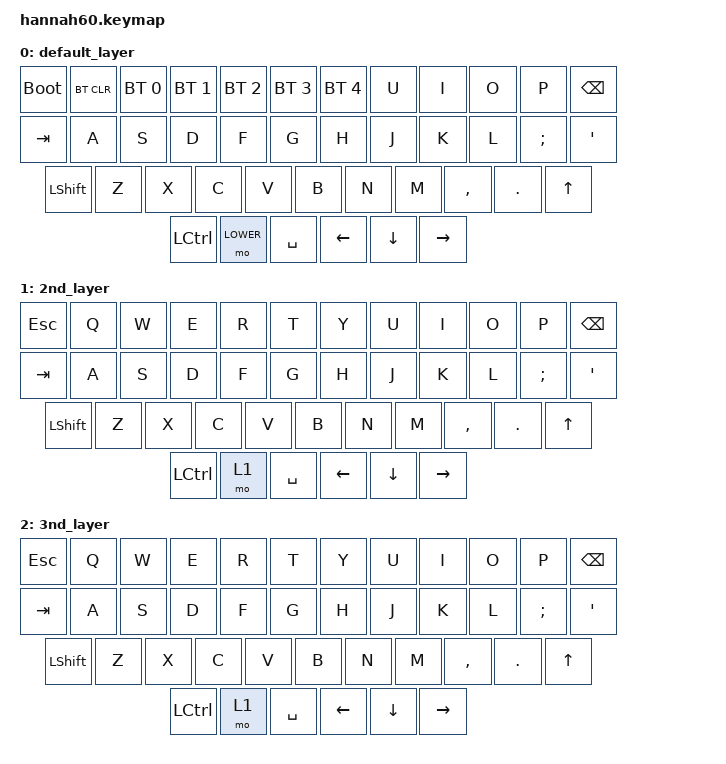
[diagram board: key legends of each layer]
/*
 * Copyright (c) 2021 Nick Winans
 *
 * SPDX-License-Identifier: MIT
 */

#include <behaviors.dtsi>
#include <dt-bindings/zmk/keys.h>
#include <dt-bindings/zmk/bt.h>
#define DEFAULT 0
#define LOWER   1
#define RAISE   2
/ {
	keymap {
		compatible = "zmk,keymap";
		
		default_layer {
// ------------------------------------------------------------------------------------------
// | ESC |  1  |  2  |  3  |  4  |  5  |  6  |  7  |  8  |  9  |  0  |  -  |  =  | BSPC |DEL|
// | TAB  |  Q  |  W  |  E  |  R  |  T  |  Y  |  U  |  I  |  O  |  P  |  [  |  ]  |   "|"   |
// | CAPS  |  A  |  S  |  D  |  F  |  G  |  H  |  J  |  K  |  L  |  ;  |  '  |     ENTER    |
// |  SHIFT  |  Z  |  X  |  C  |  V  |  B  |  N  |  M  |  ,  |  .  |  /  |      SHIFT       |
// |  CTL  |  WIN  |  ALT  |            SPACE              |  ALT  |  WIN  |  MO(1) |  CTL  |
// ------------------------------------------------------------------------------------------
			bindings = <
   &bootloader &bt BT_CLR &bt BT_SEL 0    &bt BT_SEL 1    &bt BT_SEL 2    &bt BT_SEL 3    &bt BT_SEL 4 &kp U  &kp I  &kp O   &kp P    &kp BSPC
   &kp TAB &kp A &kp S &kp D &kp F &kp G &kp H &kp J  &kp K  &kp L   &kp SEMI &kp SQT
   &kp LSHFT &kp Z &kp X &kp C &kp V &kp B   &kp N &kp M  &kp COMMA &kp DOT  &kp UP
   &kp LCTRL  &mo LOWER                    &kp SPACE                     &kp LEFT &kp DOWN &kp RIGHT
                        >;
		};
		
		2nd_layer {
// ------------------------------------------------------------------------------------------
// | boot | BT CLR | BT1 | BT2 | BT3 | BT4 | BT5 | TRNS | TRNS | TRNS | TRNS | TRNS | TRNS |  TRNS  |
// | TRNS | TRNS |  UP  | TRNS | TRNS | TRNS | TRNS | TRNS | TRNS | TRNS | TRNS | TRNS | TRNS | TRNS |
// | TRNS | LEFT | DOWN | RGHT | TRNS | TRNS | TRNS | TRNS | TRNS | TRNS | TRNS | TRNS | TRNS |
// | TRNS | TRNS | TRNS | TRNS | TRNS | TRNS | TRNS | TRNS | TRNS | TRNS | TRNS | TRNS |
// | TRNS  | TRNS  |  TRNS |             TRNS              | TRNS  |  TRNS |  TRNS | TRNS  |
// ------------------------------------------------------------------------------------------
			bindings = <
   &kp ESC   &kp Q &kp W &kp E &kp R &kp T &kp Y &kp U  &kp I  &kp O   &kp P    &kp BSPC
   &kp TAB &kp A &kp S &kp D &kp F &kp G &kp H &kp J  &kp K  &kp L   &kp SEMI &kp SQT
   &kp LSHFT &kp Z &kp X &kp C &kp V &kp B   &kp N &kp M  &kp COMMA &kp DOT  &kp UP
   &kp LCTRL  &mo 1                    &kp SPACE                     &kp LEFT &kp DOWN &kp RIGHT
                        >;
		};
		
		3nd_layer {
// ------------------------------------------------------------------------------------------
// | boot | F1 | F2 | F3 | F4 | F5 | F6 | F7 | F8 | F9 | F10 | F11 | F12 |  TRNS  |
// | TRNS | TRNS | TRNS | TRNS | TRNS | TRNS | TRNS | TRNS | TRNS | TRNS | TRNS | TRNS | TRNS | TRNS |
// | TRNS | TRNS | TRNS | TRNS | TRNS | TRNS | TRNS | TRNS | TRNS | TRNS | TRNS | TRNS | TRNS |
// | TRNS | TRNS | VOL_DN | VOL_UP | PREV | NEXT | TRNS | TRNS | TRNS | TRNS | TRNS | TRNS |
// | TRNS  | TRNS  |  TRNS |             PLAY/PAUS              | TRNS  |  TRNS |  TRNS | TRNS  |
// ------------------------------------------------------------------------------------------
			bindings = <
   &kp ESC   &kp Q &kp W &kp E &kp R &kp T &kp Y &kp U  &kp I  &kp O   &kp P    &kp BSPC
   &kp TAB &kp A &kp S &kp D &kp F &kp G &kp H &kp J  &kp K  &kp L   &kp SEMI &kp SQT
   &kp LSHFT &kp Z &kp X &kp C &kp V &kp B   &kp N &kp M  &kp COMMA &kp DOT  &kp UP
   &kp LCTRL  &mo 1                    &kp SPACE                     &kp LEFT &kp DOWN &kp RIGHT
                        >;
		};
	};
};
